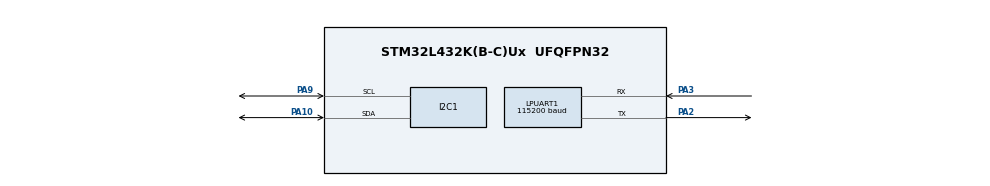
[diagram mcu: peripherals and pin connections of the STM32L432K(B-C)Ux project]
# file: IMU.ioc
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LPUART1.BaudRate=115200
LPUART1.WordLength=UART_WORDLENGTH_8B
Mcu.Family=STM32L4
Mcu.Name=STM32L432K(B-C)Ux
Mcu.Package=UFQFPN32
NVIC.PriorityGroup=NVIC_PRIORITYGROUP_4
PA10.Mode=I2C
PA10.Signal=I2C1_SDA
PA2.Mode=Asynchronous
PA2.Signal=LPUART1_TX
PA3.Mode=Asynchronous
PA3.Signal=LPUART1_RX
PA9.Mode=I2C
PA9.Signal=I2C1_SCL
ProjectManager.HeapSize=0x200
ProjectManager.StackSize=0x400
ProjectManager.TargetToolchain=STM32CubeIDE
RCC.HSE_VALUE=8000000
RCC.HSI48_VALUE=48000000
RCC.HSI_VALUE=16000000
RCC.LSE_VALUE=32768
RCC.MSI_VALUE=4000000
RCC.VCOOutputFreq_Value=32000000
board=custom

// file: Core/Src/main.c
/* USER CODE BEGIN Header */
/**
  ******************************************************************************
  * @file           : main.c
  * @brief          : Main program body
  ******************************************************************************
  * @attention
  *
  * Copyright (c) 2024 STMicroelectronics.
  * All rights reserved.
  *
  * This software is licensed under terms that can be found in the LICENSE file
  * in the root directory of this software component.
  * If no LICENSE file comes with this software, it is provided AS-IS.
  *
  ******************************************************************************
  */
/* USER CODE END Header */
#include "main.h"

/* USER CODE BEGIN Includes */
#include "stdio.h"
#include "IMU.h"

/* USER CODE END Includes */

I2C_HandleTypeDef hi2c1;

UART_HandleTypeDef hlpuart1;

void SystemClock_Config(void);
static void MX_GPIO_Init(void);
static void MX_I2C1_Init(void);
static void MX_LPUART1_UART_Init(void);

int main(void)
{

  /* MCU Configuration--------------------------------------------------------*/

  /* Reset of all peripherals, Initializes the Flash interface and the Systick. */
  HAL_Init();

  /* Configure the system clock */
  SystemClock_Config();

  /* Initialize all configured peripherals */
  MX_GPIO_Init();
  MX_I2C1_Init();
  MX_LPUART1_UART_Init();

  /* USER CODE BEGIN 2 */

  init_IMU(&hi2c1);
  int16_t veci[3];
  float vecf[3];
  enum TestSection {
	  LIN_ACC_SOLO,	// linear acceleration read test, one at a time
	  LIN_ACC_VEC,	// linear acceleration read test, all at once
	  GRAV_SOLO,	// gravity vector read test, one at a time
	  GRAV_VEC		// gravity vector read test, all at once
  };

  /* USER CODE END 2 */

  /* Infinite loop */
  /* USER CODE BEGIN WHILE */
  while (1)
  {
	  printf("\n*********************************************************\n\r");

	  enum TestSection ts = GRAV_VEC;

	  switch(ts) {
	  	  case LIN_ACC_SOLO:
	  		  printf("\n\rLinear Acel. data gathered individually\n\r");
	  		  veci[0] = x_lin_acc_raw(&hi2c1);
	  		  veci[1] = y_lin_acc_raw(&hi2c1);
	  		  veci[2] = z_lin_acc_raw(&hi2c1);
	  		  vecf[0] = x_lin_acc(&hi2c1);
	  		  vecf[1] = y_lin_acc(&hi2c1);
	  		  vecf[2] = z_lin_acc(&hi2c1);
	  		  break;

	  	  case LIN_ACC_VEC:
	  		  printf("\n\rLinear Acel. data gathered collectively\n\r");
	  		  lin_acc_vec_raw(&hi2c1, veci);
			  lin_acc_vec(&hi2c1, vecf);
	  		  break;

	  	  case GRAV_SOLO:
	  		  printf("\n\rGravity Vector data gathered individually\n\r");
	  		  veci[0] = x_grav_raw(&hi2c1);
			  veci[1] = y_grav_raw(&hi2c1);
			  veci[2] = z_grav_raw(&hi2c1);
			  vecf[0] = x_grav(&hi2c1);
			  vecf[1] = y_grav(&hi2c1);
			  vecf[2] = z_grav(&hi2c1);
	  		  break;

	  	  case GRAV_VEC:
	  		  printf("\n\rGavity Vector data gathered collectively\n\r");
			  grav_vec_raw(&hi2c1, veci);
			  grav_vec(&hi2c1, vecf);
	  		  break;
	  }

	  /**
	   * print out raw data in hex and decimal
	   * as well as float data
	   */
	  printf("\n\rRAW DATA:\n\r");
	  printf("\t%7hX,\t%7hX,\t%7hX\n\r", veci[0], veci[1], veci[2]);
	  printf("\t(%5hd),\t(%5hd),\t(%5hd)\n\r", veci[0], veci[1], veci[2]);
	  printf("\n\rFLOAT DATA:\n\r");
	  printf("\t%*.2f,\t%*.2f,\t%*.2f\n\r", 7, vecf[0], 7, vecf[1], 7, vecf[2]);

	  HAL_Delay(1000);
    /* USER CODE END WHILE */

  }
}

void SystemClock_Config(void)
{
  RCC_OscInitTypeDef RCC_OscInitStruct = {0};
  RCC_ClkInitTypeDef RCC_ClkInitStruct = {0};

  /** Configure the main internal regulator output voltage
  */
  if (HAL_PWREx_ControlVoltageScaling(PWR_REGULATOR_VOLTAGE_SCALE1) != HAL_OK)
  {
    Error_Handler();
  }

  /** Initializes the RCC Oscillators according to the specified parameters
  * in the RCC_OscInitTypeDef structure.
  */
  RCC_OscInitStruct.OscillatorType = RCC_OSCILLATORTYPE_MSI;
  RCC_OscInitStruct.MSIState = RCC_MSI_ON;
  RCC_OscInitStruct.MSICalibrationValue = 0;
  RCC_OscInitStruct.MSIClockRange = RCC_MSIRANGE_6;
  RCC_OscInitStruct.PLL.PLLState = RCC_PLL_NONE;
  if (HAL_RCC_OscConfig(&RCC_OscInitStruct) != HAL_OK)
  {
    Error_Handler();
  }

  /** Initializes the CPU, AHB and APB buses clocks
  */
  RCC_ClkInitStruct.ClockType = RCC_CLOCKTYPE_HCLK|RCC_CLOCKTYPE_SYSCLK
                              |RCC_CLOCKTYPE_PCLK1|RCC_CLOCKTYPE_PCLK2;
  RCC_ClkInitStruct.SYSCLKSource = RCC_SYSCLKSOURCE_MSI;
  RCC_ClkInitStruct.AHBCLKDivider = RCC_SYSCLK_DIV1;
  RCC_ClkInitStruct.APB1CLKDivider = RCC_HCLK_DIV1;
  RCC_ClkInitStruct.APB2CLKDivider = RCC_HCLK_DIV1;

  if (HAL_RCC_ClockConfig(&RCC_ClkInitStruct, FLASH_LATENCY_0) != HAL_OK)
  {
    Error_Handler();
  }
}

static void MX_I2C1_Init(void)
{

  hi2c1.Instance = I2C1;
  hi2c1.Init.Timing = 0x00000E14;
  hi2c1.Init.OwnAddress1 = 0;
  hi2c1.Init.AddressingMode = I2C_ADDRESSINGMODE_7BIT;
  hi2c1.Init.DualAddressMode = I2C_DUALADDRESS_DISABLE;
  hi2c1.Init.OwnAddress2 = 0;
  hi2c1.Init.OwnAddress2Masks = I2C_OA2_NOMASK;
  hi2c1.Init.GeneralCallMode = I2C_GENERALCALL_DISABLE;
  hi2c1.Init.NoStretchMode = I2C_NOSTRETCH_DISABLE;
  if (HAL_I2C_Init(&hi2c1) != HAL_OK)
  {
    Error_Handler();
  }

  /** Configure Analogue filter
  */
  if (HAL_I2CEx_ConfigAnalogFilter(&hi2c1, I2C_ANALOGFILTER_ENABLE) != HAL_OK)
  {
    Error_Handler();
  }

  /** Configure Digital filter
  */
  if (HAL_I2CEx_ConfigDigitalFilter(&hi2c1, 0) != HAL_OK)
  {
    Error_Handler();
  }

}

static void MX_LPUART1_UART_Init(void)
{

  hlpuart1.Instance = LPUART1;
  hlpuart1.Init.BaudRate = 115200;
  hlpuart1.Init.WordLength = UART_WORDLENGTH_8B;
  hlpuart1.Init.StopBits = UART_STOPBITS_1;
  hlpuart1.Init.Parity = UART_PARITY_NONE;
  hlpuart1.Init.Mode = UART_MODE_TX_RX;
  hlpuart1.Init.HwFlowCtl = UART_HWCONTROL_NONE;
  hlpuart1.Init.OneBitSampling = UART_ONE_BIT_SAMPLE_DISABLE;
  hlpuart1.AdvancedInit.AdvFeatureInit = UART_ADVFEATURE_NO_INIT;
  if (HAL_UART_Init(&hlpuart1) != HAL_OK)
  {
    Error_Handler();
  }

}

static void MX_GPIO_Init(void)
{

  /* GPIO Ports Clock Enable */
  __HAL_RCC_GPIOA_CLK_ENABLE();

}

/* USER CODE BEGIN 4 */

#ifdef __GNUC__
#define PUTCHAR_PROTOTYPE int __io_putchar(int ch)
#else
  #define PUTCHAR_PROTOTYPE int fputc(int ch, FILE *f)
#endif /* __GNUC__ */
PUTCHAR_PROTOTYPE
{
  HAL_UART_Transmit(&hlpuart1, (uint8_t *)&ch, 1, 0xFFFF);
  return ch;
}

/* USER CODE END 4 */

void Error_Handler(void)
{
  __disable_irq();
  while (1)
  {
  }
}
